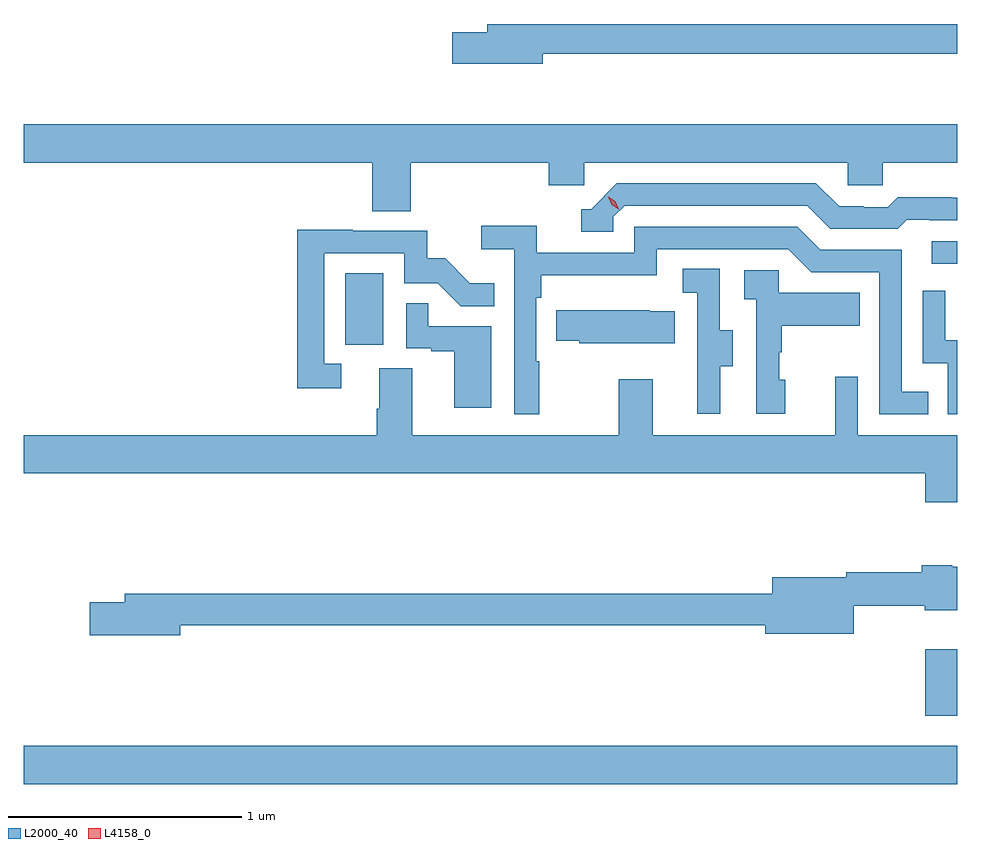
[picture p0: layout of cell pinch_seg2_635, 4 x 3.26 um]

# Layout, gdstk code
import gdstk
lib = gdstk.Library(unit=1e-6, precision=1e-09)
def R(c, l, rs):  # rectangles x0, y0, x1, y1
    for r in rs: c.add(gdstk.rectangle(r[:2], r[2:], *l))
def P(c, l, *ps):  # polygons
    for p in ps: c.add(gdstk.Polygon(p, *l))
L2000_40 = (2000, 40)
L4158_0 = (4158, 0)

pinch_seg2_635 = lib.new_cell('pinch_seg2_635')
R(pinch_seg2_635, L2000_40, [(1077.917,599.684,1081.917,599.848), (1081.781,599.976,1081.917,600.262), (1079.294,601.566,1079.458,601.873), (1081.809,601.914,1081.917,602.01)])
P(pinch_seg2_635, L2000_40, [(1080.142,602.814),(1081.917,602.814),(1081.917,602.942),(1079.903,602.942),(1079.903,602.906),(1079.754,602.906),(1079.754,602.771),(1080.142,602.771)],
  [(1079.576,602.348),(1080.167,602.348),(1080.167,602.25),(1080.318,602.25),(1080.318,602.348),(1081.449,602.348),(1081.449,602.25),(1081.599,602.25),(1081.599,602.348),(1081.917,602.348),(1081.917,602.512),(1077.917,602.512),(1077.917,602.348),(1079.411,602.348),(1079.411,602.14),(1079.576,602.14)],
  [(1080.444,602.115),(1080.492,602.163),(1081.275,602.163),(1081.374,602.064),(1081.663,602.064),(1081.702,602.103),(1081.801,602.103),(1081.801,602.1),(1081.917,602.1),(1081.917,602.197),(1081.896,602.197),(1081.896,602.2),(1081.663,602.2),(1081.621,602.157),(1081.518,602.157),(1081.518,602.16),(1081.411,602.16),(1081.312,602.259),(1080.459,602.259),(1080.348,602.148),(1080.305,602.148),(1080.305,602.052),(1080.444,602.052)],
  [(1080.127,601.496),(1080.114,601.496),(1080.114,601.769),(1080.134,601.769),(1080.134,601.865),(1080.63,601.865),(1080.63,601.977),(1081.194,601.977),(1081.293,601.878),(1081.584,601.878),(1081.584,601.269),(1081.793,601.269),(1081.793,601.365),(1081.68,601.365),(1081.68,601.974),(1081.33,601.974),(1081.231,602.073),(1080.534,602.073),(1080.534,601.962),(1080.116,601.962),(1080.116,602.078),(1079.877,602.078),(1079.877,601.976),(1080.018,601.976),(1080.018,601.269),(1080.127,601.269)],
  [(1079.278,601.485),(1079.205,601.485),(1079.205,601.959),(1079.547,601.959),(1079.547,601.83),(1079.691,601.83),(1079.789,601.732),(1079.933,601.732),(1079.933,601.831),(1079.829,601.831),(1079.722,601.938),(1079.646,601.938),(1079.646,602.055),(1079.327,602.055),(1079.327,602.06),(1079.089,602.06),(1079.089,601.38),(1079.278,601.38)],
  [(1080.901,601.474),(1080.955,601.474),(1080.955,601.629),(1080.9,601.629),(1080.9,601.892),(1080.741,601.892),(1080.741,601.789),(1080.804,601.789),(1080.804,601.485),(1080.803,601.485),(1080.803,601.272),(1080.901,601.272)],
  [(1081.18,601.416),(1081.155,601.416),(1081.155,601.535),(1081.165,601.535),(1081.165,601.649),(1081.499,601.649),(1081.499,601.789),(1081.152,601.789),(1081.152,601.887),(1081.005,601.887),(1081.005,601.763),(1081.056,601.763),(1081.056,601.272),(1081.18,601.272)],
  [(1081.917,601.586),(1081.866,601.586),(1081.866,601.798),(1081.77,601.798),(1081.77,601.488),(1081.878,601.488),(1081.878,601.269),(1081.917,601.269)],
  [(1079.92,601.647),(1079.651,601.647),(1079.651,601.745),(1079.556,601.745),(1079.556,601.551),(1079.663,601.551),(1079.663,601.539),(1079.762,601.539),(1079.762,601.296),(1079.92,601.296)],
  [(1080.707,601.711),(1080.599,601.711),(1080.599,601.714),(1080.199,601.714),(1080.199,601.585),(1080.297,601.585),(1080.297,601.574),(1080.707,601.574)],
  [(1081.917,601.18),(1081.491,601.18),(1081.491,601.429),(1081.394,601.429),(1081.394,601.18),(1080.613,601.18),(1080.613,601.42),(1080.466,601.42),(1080.466,601.18),(1079.581,601.18),(1079.581,601.466),(1079.441,601.466),(1079.441,601.292),(1079.429,601.292),(1079.429,601.18),(1077.917,601.18),(1077.917,601.016),(1081.781,601.016),(1081.781,600.892),(1081.917,600.892)],
  [(1078.588,600.364),(1081.094,600.364),(1081.094,600.329),(1081.474,600.329),(1081.474,600.449),(1081.778,600.449),(1081.778,600.428),(1081.917,600.428),(1081.917,600.616),(1081.896,600.616),(1081.896,600.622),(1081.766,600.622),(1081.766,600.591),(1081.442,600.591),(1081.442,600.571),(1081.124,600.571),(1081.124,600.5),(1078.349,600.5),(1078.349,600.464),(1078.2,600.464),(1078.2,600.322),(1078.588,600.322)])
P(pinch_seg2_635, L4158_0, [(1080.467,602.148),(1080.437,602.168),(1080.421,602.201),(1080.421,602.202),(1080.421,602.202),(1080.452,602.182),(1080.467,602.148),(1080.467,602.148)])

lib.write_gds('pinch_seg2_635.gds')
